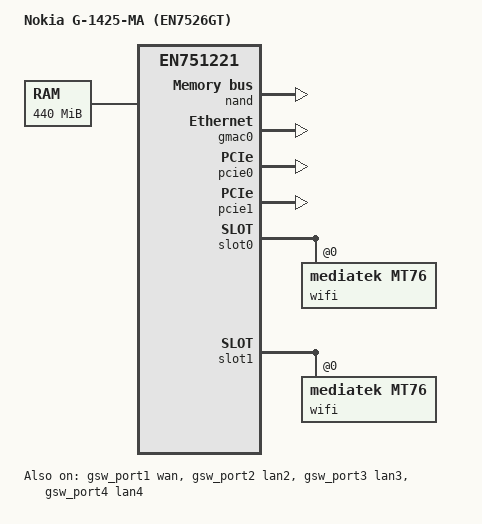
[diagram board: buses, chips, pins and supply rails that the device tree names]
// SPDX-License-Identifier: (GPL-2.0-only OR BSD-2-Clause)
/dts-v1/;

#include "en751221g.dtsi"

/ {
	model = "Nokia G-1425-MA (EN7526GT)";
	compatible = "nokia,g1425", "econet,en751221";

	memory@0 {
		device_type = "memory";
		reg = <0x00000000 0x1b800000>;	/* stock kernel: System RAM ends 0x1b7fffff */
	};

	chosen {
		stdout-path = "/serial@1fbf0000:115200";
		bootargs = "console=ttyS0,115200 earlycon loglevel=8 ubi.mtd=rootfs_slave ubi.mtd=openwrt_data";
		linux,usable-memory-range = <0x00020000 0x1b7e0000>;
	};
};

&nand {
	status = "okay";
	econet,bmt;

	partitions {
		compatible = "fixed-partitions";
		#address-cells = <1>;
		#size-cells = <1>;

		partition@0 { label = "bootloader"; reg = <0x0 0x40000>; read-only; };
		partition@40000 { label = "romfile"; reg = <0x40000 0x40000>; read-only; };
		/* bank A = stock firmware, our recovery: never writable from OpenWrt */
		partition@80000 { label = "stock_kernel"; reg = <0x80000 0x300000>; read-only; };
		partition@380000 { label = "stock_rootfs"; reg = <0x380000 0x1400000>; read-only; };
		/* bank B = OpenWrt */
		partition@1780000 { label = "kernel_slave"; reg = <0x1780000 0x300000>; };
		partition@1a80000 {
			label = "rootfs_slave";
			reg = <0x1a80000 0x1400000>;

			/*
			 * This unit's MT7612 calibration: stock keeps it as a file on its
			 * config partition (/configs/mtk7612/RT30xxEEPROM.bin, the power
			 * tables differ per unit); preinit copies it into this volume.
			 */
			volumes {
				ubi-volume-wifi-cal {
					volname = "wifi_cal";

					nvmem-layout {
						compatible = "fixed-layout";
						#address-cells = <1>;
						#size-cells = <1>;

						eeprom_wifi_cal_5g: eeprom@0 {
							reg = <0x0 0x200>;
						};
					};
				};
			};
		};
		partition@2e80000 { label = "bosa"; reg = <0x2e80000 0x40000>; read-only; };
		partition@2ec0000 {
			label = "ri";
			reg = <0x2ec0000 0x40000>;
			read-only;

			nvmem-layout {
				compatible = "fixed-layout";
				#address-cells = <1>;
				#size-cells = <1>;

				macaddr_ri_3e: macaddr@3e {
					compatible = "mac-base";
					reg = <0x3e 0x6>;
					#nvmem-cell-cells = <1>;
				};
			};
		};
		partition@2f00000 { label = "flag"; reg = <0x2f00000 0x40000>; };
		partition@2f40000 { label = "flagback"; reg = <0x2f40000 0x40000>; };
		/* stock UBI areas (/configs, /data, /logs): read-only, never touch */
		partition@2f80000 { label = "stock_config"; reg = <0x2f80000 0xa00000>; read-only; };
		/*
		 * Stock /data (two openjdk images for operator plugins) given to
		 * OpenWrt as its overlay; raw backup kept off-device. Stock in bank A
		 * keeps its kernel/rootfs/config; restore the backup to bring /data back.
		 */
		partition@3980000 { label = "openwrt_data"; reg = <0x3980000 0xa000000>; };
		partition@d980000 { label = "stock_log"; reg = <0xd980000 0xa00000>; read-only; };
	};
};

&gmac0 {
	status = "okay";
	nvmem-cells = <&macaddr_ri_3e 0>;
	nvmem-cell-names = "mac-address";
};

/* Wi-Fi: stock has ra0 (2.4 GHz, mt7603eap) + rai0 (5 GHz, mt7662e_ap) on PCIe */
&pcie0 {
	status = "okay";
};

&pcie1 {
	status = "okay";
};

/*
 * The ports hang off the MCM MT7530 (MDIO 0x1f, GE PHYs 03a2:9412 at 1-4);
 * the on-die switch only passes port 6 <-> port 5 through, as on G-240G-E.
 * Socket N is MCM port N / PHY N (miir link tests); socket 1 is the WAN.
 */
&gsw_port1 {
	status = "okay";
	label = "wan";
};

&gsw_port2 {
	status = "okay";
	label = "lan2";
};

&gsw_port3 {
	status = "okay";
	label = "lan3";
};

&gsw_port4 {
	status = "okay";
	label = "lan4";
};

/* Persistent Wi-Fi MACs: ri base +1 (2.4 GHz), +2 (5 GHz) */
&slot0 {
	wifi@0,0 {
		compatible = "mediatek,mt76";
		reg = <0x0000 0 0 0 0>;
		nvmem-cells = <&macaddr_ri_3e 1>;
		nvmem-cell-names = "mac-address";
	};
};

&slot1 {
	wifi@0,0 {
		compatible = "mediatek,mt76";
		reg = <0x0000 0 0 0 0>;
		nvmem-cells = <&macaddr_ri_3e 2>, <&eeprom_wifi_cal_5g>;
		nvmem-cell-names = "mac-address", "eeprom";
	};
};
